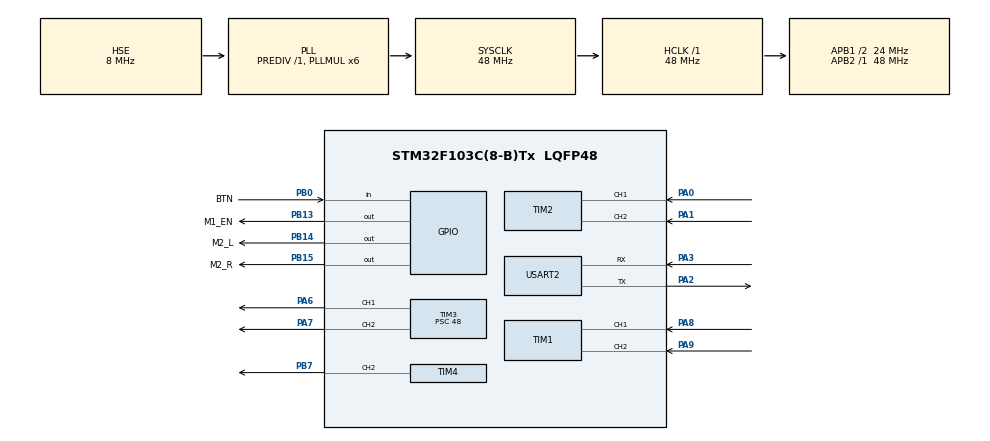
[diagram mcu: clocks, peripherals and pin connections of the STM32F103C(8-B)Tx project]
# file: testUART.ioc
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Mcu.Family=STM32F1
Mcu.Name=STM32F103C(8-B)Tx
Mcu.Package=LQFP48
NVIC.PriorityGroup=NVIC_PRIORITYGROUP_4
NVIC.TIM4_IRQn=true\:2\:0\:true\:false\:true\:true\:true\:true
NVIC.USART2_IRQn=true\:3\:0\:true\:false\:true\:true\:true\:true
PA0-WKUP.Signal=S_TIM2_CH1_ETR
PA1.Signal=S_TIM2_CH2
PA13.Mode=Serial_Wire
PA13.Signal=SYS_JTMS-SWDIO
PA14.Mode=Serial_Wire
PA14.Signal=SYS_JTCK-SWCLK
PA2.Mode=Asynchronous
PA2.Signal=USART2_TX
PA3.Mode=Asynchronous
PA3.Signal=USART2_RX
PA6.Signal=S_TIM3_CH1
PA7.Signal=S_TIM3_CH2
PA8.Signal=S_TIM1_CH1
PA9.Signal=S_TIM1_CH2
PB0.GPIO_Label=BTN
PB0.GPIO_PuPd=GPIO_PULLUP
PB0.Signal=GPIO_Input
PB13.GPIO_Label=M1_EN
PB13.Signal=GPIO_Output
PB14.GPIO_Label=M2_L
PB14.Signal=GPIO_Output
PB15.GPIO_Label=M2_R
PB15.Signal=GPIO_Output
PB7.Signal=S_TIM4_CH2
PD0-OSC_IN.Mode=HSE-External-Oscillator
PD0-OSC_IN.Signal=RCC_OSC_IN
PD1-OSC_OUT.Mode=HSE-External-Oscillator
PD1-OSC_OUT.Signal=RCC_OSC_OUT
ProjectManager.HeapSize=0x200
ProjectManager.StackSize=0x400
ProjectManager.TargetToolchain=STM32CubeIDE
RCC.AHBFreq_Value=48000000
RCC.APB1CLKDivider=RCC_HCLK_DIV2
RCC.APB1Freq_Value=24000000
RCC.APB1TimFreq_Value=48000000
RCC.APB2Freq_Value=48000000
RCC.APB2TimFreq_Value=48000000
RCC.HCLKFreq_Value=48000000
RCC.PLLMUL=RCC_PLL_MUL6
RCC.PLLSourceVirtual=RCC_PLLSOURCE_HSE
RCC.SYSCLKFreq_VALUE=48000000
RCC.SYSCLKSource=RCC_SYSCLKSOURCE_PLLCLK
RCC.USBFreq_Value=48000000
SH.S_TIM1_CH1.0=TIM1_CH1,Encoder_Interface
SH.S_TIM1_CH2.0=TIM1_CH2,Encoder_Interface
SH.S_TIM2_CH1_ETR.0=TIM2_CH1,Encoder_Interface
SH.S_TIM2_CH2.0=TIM2_CH2,Encoder_Interface
SH.S_TIM3_CH1.0=TIM3_CH1,PWM Generation1 CH1
SH.S_TIM3_CH2.0=TIM3_CH2,PWM Generation2 CH2
SH.S_TIM4_CH2.0=TIM4_CH2,PWM Generation2 CH2
TIM1.AutoReloadPreload=TIM_AUTORELOAD_PRELOAD_ENABLE
TIM1.EncoderMode=TIM_ENCODERMODE_TI12
TIM2.AutoReloadPreload=TIM_AUTORELOAD_PRELOAD_ENABLE
TIM3.AutoReloadPreload=TIM_AUTORELOAD_PRELOAD_ENABLE
TIM3.Channel-PWM\ Generation1\ CH1=TIM_CHANNEL_1
TIM3.Channel-PWM\ Generation2\ CH2=TIM_CHANNEL_2
TIM3.Period=499
TIM3.Prescaler=48
TIM4.AutoReloadPreload=TIM_AUTORELOAD_PRELOAD_ENABLE
TIM4.Channel-PWM\ Generation2\ CH2=TIM_CHANNEL_2
TIM4.Period=999
TIM4.Prescaler=48
USART2.VirtualMode=VM_ASYNC
board=custom

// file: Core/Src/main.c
/* USER CODE BEGIN Header */
/**
 ******************************************************************************
 * @file           : main.c (UART)
 * @brief          : Main program body
 ******************************************************************************
 * @attention
 *
 * Copyright (c) 2022 STMicroelectronics.
 * All rights reserved.
 *
 * This software is licensed under terms that can be found in the LICENSE file
 * in the root directory of this software component.
 * If no LICENSE file comes with this software, it is provided AS-IS.
 *
 ******************************************************************************
 */
/* USER CODE END Header */
#include "main.h"

/* USER CODE BEGIN Includes */
#include <stdbool.h>
#include <stdio.h>
#include <stdint.h>
#include <math.h>
#include <string.h>
/* USER CODE END Includes */

/* USER CODE BEGIN PM */
typedef uint8_t u8;
typedef int8_t s8;
typedef uint16_t u16;
typedef int16_t s16;
typedef uint32_t u32;
typedef int32_t s32;
/* USER CODE END PM */

TIM_HandleTypeDef htim1;
TIM_HandleTypeDef htim2;
TIM_HandleTypeDef htim3;
TIM_HandleTypeDef htim4;

UART_HandleTypeDef huart2;

/* USER CODE BEGIN PV */
static char MSG[52] = { '\0' };

/* USER CODE END PV */

void SystemClock_Config(void);
static void MX_GPIO_Init(void);
static void MX_USART2_UART_Init(void);
static void MX_TIM1_Init(void);
static void MX_TIM2_Init(void);
static void MX_TIM3_Init(void);
static void MX_TIM4_Init(void);
/* USER CODE BEGIN PFP */
uint32_t MAP(uint32_t au32_IN, uint32_t au32_INmin, uint32_t au32_INmax,
	uint32_t au32_OUTmin, uint32_t au32_OUTmax) {
  uint32_t val = au32_IN - au32_INmin;
  val = val * (au32_OUTmax - au32_OUTmin);
  val = val / (1.0 * (au32_INmax - au32_INmin));
  val = val + au32_OUTmin;
  return val;
}
void set_motor(u8 id, s8 dir, u16 val) {
  u16 pwm;
  switch (id) {
  case 1:
	pwm = MAP(val, 0, 1000, 0, 499);
	if (dir == 1) {
	  HAL_GPIO_WritePin(M1_EN_GPIO_Port, M1_EN_Pin, GPIO_PIN_SET);
	  TIM3->CCR1 = pwm;
	  TIM3->CCR2 = 0;
	} else if (dir == -1) {
	  HAL_GPIO_WritePin(M1_EN_GPIO_Port, M1_EN_Pin, GPIO_PIN_SET);
	  TIM3->CCR2 = pwm;
	  TIM3->CCR1 = 0;
	} else if (dir == 0) //Freely run
		{
	  HAL_GPIO_WritePin(M1_EN_GPIO_Port, M1_EN_Pin, GPIO_PIN_RESET);
	  TIM3->CCR1 = 0;
	  TIM3->CCR2 = 0;
	} else	// BRAKE
	{
	  HAL_GPIO_WritePin(M1_EN_GPIO_Port, M1_EN_Pin, GPIO_PIN_SET);
	  TIM3->CCR2 = 0;
	  TIM3->CCR1 = 0;
	}
	break;
  case 2:
	pwm = MAP(val, 0, 1000, 0, 999);
	if (dir == -1) {
	  HAL_GPIO_WritePin(M2_L_GPIO_Port, M2_L_Pin, GPIO_PIN_SET);
	  HAL_GPIO_WritePin(M2_R_GPIO_Port, M2_R_Pin, GPIO_PIN_RESET);
	  TIM4->CCR2 = pwm;
	} else if (dir == 1) {
	  HAL_GPIO_WritePin(M2_L_GPIO_Port, M2_L_Pin, GPIO_PIN_RESET);
	  HAL_GPIO_WritePin(M2_R_GPIO_Port, M2_R_Pin, GPIO_PIN_SET);
	  TIM4->CCR2 = pwm;
	} else if (dir == -2) //Freely run
		{
	  TIM4->CCR2 = 0;
	  HAL_GPIO_WritePin(M2_L_GPIO_Port, M2_L_Pin, GPIO_PIN_RESET);
	  HAL_GPIO_WritePin(M2_R_GPIO_Port, M2_R_Pin, GPIO_PIN_RESET);
	} else //BRAKE
	{
	  HAL_GPIO_WritePin(M2_L_GPIO_Port, M2_L_Pin, GPIO_PIN_RESET);
	  HAL_GPIO_WritePin(M2_R_GPIO_Port, M2_R_Pin, GPIO_PIN_RESET);
	  TIM4->CCR2 = 999;
	}
	break;
  default:
	return;
  }
}

volatile u32 tick_count = 0; // 1 ms/tick
volatile u8 deltaT = 20; //ms 50Hz

volatile s32 now_E1 = 0, now_E2 = 0, delta_E1 = 0, delta_E2 = 0;
volatile s32 pre_E1 = 0, pre_E2 = 0;

#define M1_PulsePerRev 1600	// tick/motor rev
#define M1_GearRatio (30.0/16.0)	// motor rev / output rev

#define M2_PulsePerRev 44	// tick/motor rev
#define M2_GearRatio 168		// motor rev / output rev
#define M2_visme_pitch	8	// translation mm/ rev

volatile float M1_velo = 0, M2_velo = 0;
volatile float M1_velo_filt = 0, M2_velo_filt = 0;
volatile float M1_preVelo = 0, M2_preVelo = 0;

volatile float M1_vref = 0, M2_vref = 0;
volatile float t = 0;
bool FLAG_runMotor = false;

volatile u8 M1_dir = 0, M2_dir = 0;
volatile u32 tick_20ms = 0;

volatile bool FLAG_sendData = false;
volatile float M1_travel = 0;
void HAL_TIM_PeriodElapsedCallback(TIM_HandleTypeDef *htim) {
  if (htim->Instance == TIM4) {
	tick_count = tick_count + 1;
	if (tick_count >= deltaT) {
	  //20 ms
	  tick_count = 0;
	  if (FLAG_runMotor) {
		M1_vref = 1000 * sin((2 * 3.14 / 20.0) * t);
		t = t + deltaT / 1000.0;

		now_E1 = TIM1->CNT;
		now_E2 = TIM2->CNT;

		delta_E1 = now_E1 - pre_E1;
		delta_E2 = now_E2 - pre_E2;

		if (delta_E1 < -3000) // now = 5, pre = 65530
		  delta_E1 = delta_E1 + 0xFFFF;
		else if (delta_E1 > 3000) // now = 65535, pre = 5
		  delta_E1 = delta_E1 - 0xFFFF;

		if (delta_E2 < -3000) // now = 5, pre = 65530
		  delta_E2 = delta_E2 + 0xFFFF;
		else if (delta_E2 > 3000) // now = 65535, pre = 5
		  delta_E2 = delta_E2 - 0xFFFF;

		pre_E1 = now_E1;
		pre_E2 = now_E2;

		// (ticks/s*60)/(ticks/mRev*mRev/outRev) = outRev/min
		M1_velo = (delta_E1 * 20 * 60.0)
			/ (1.0 * M1_PulsePerRev * M1_GearRatio);
		M2_velo = (delta_E2 * 20 * 60.0)
			/ (1.0 * M2_PulsePerRev * M2_GearRatio);

		M1_travel = M1_travel
			+ delta_E1 * 1.0 / (1.0 * M1_PulsePerRev * M1_GearRatio);

		// pulse/(pulse/rev*rev/Outrev) = OutRev *pitch = mm
		M1_velo_filt = -0.222 * M1_velo_filt + 0.611 * M1_velo
			+ 0.611 * M1_preVelo;
		M1_preVelo = M1_velo;

		M2_velo_filt = -0.222 * M2_velo_filt + 0.611 * M2_velo
			+ 0.611 * M2_preVelo;
		M2_preVelo = M2_velo;

//		M1_velo_e = M1_vref - M1_velo_filt;
//		M1_velo_eint = M1_velo_eint + M1_velo_e * deltaT / 1000.0;
//		M1_u = M1_Kp * M1_velo_e + M1_Ki * M1_velo_eint
//			+ M1_Kd * (M1_velo_e - M1_velo_preE) * 1000.0 / deltaT;
//		M1_velo_preE = M1_velo_e;

		float M1_pwm = fabsf(M1_vref);
		if (M1_pwm > 1000.0)
		  M1_pwm = 1000.0;
		else if (M1_pwm < 0)
		  M1_pwm = 0;

		if (M1_vref < 0)
		  M1_dir = 1;
		else
		  M1_dir = -1;
		set_motor(1, -1, 1000);
		set_motor(2, M1_dir, M1_pwm);
		FLAG_sendData = true;
	  } else {
		set_motor(1, 0, 0);
		set_motor(2, 0, 0);
	  }
	}
  }
}
//void HAL_UART_TxCpltCallback(UART_HandleTypeDef *huart) {
//  memset(MSG, 0, sizeof(MSG));
//}
/* USER CODE END PFP */

/* USER CODE BEGIN 0 */
u32 BTN_inTime = 0;
bool FLAG_BTN_inTime = false;
/* USER CODE END 0 */

int main(void)
{

  /* MCU Configuration--------------------------------------------------------*/

  /* Reset of all peripherals, Initializes the Flash interface and the Systick. */
  HAL_Init();

  /* Configure the system clock */
  SystemClock_Config();

  /* Initialize all configured peripherals */
  MX_GPIO_Init();
  MX_USART2_UART_Init();
  MX_TIM1_Init();
  MX_TIM2_Init();
  MX_TIM3_Init();
  MX_TIM4_Init();
  /* USER CODE BEGIN 2 */

  HAL_TIM_Encoder_Start(&htim1, TIM_CHANNEL_ALL);
  HAL_TIM_Encoder_Start(&htim2, TIM_CHANNEL_ALL);

  HAL_TIM_PWM_Start(&htim3, TIM_CHANNEL_1);
  HAL_TIM_PWM_Start(&htim3, TIM_CHANNEL_2);
  HAL_TIM_PWM_Start(&htim4, TIM_CHANNEL_2);

  HAL_TIM_Base_Start_IT(&htim4);

  /* USER CODE END 2 */

  /* Infinite loop */
  while (1) {

    /* USER CODE BEGIN 3 */

	if (FLAG_sendData) {
	  FLAG_sendData = false;
	  sprintf(MSG, "%9.3f,%9.3f,%9.3f,%9.3f,%9.3f\n", M1_vref, M1_velo,
		  M1_velo_filt, M2_velo, M2_velo_filt);
	  HAL_UART_Transmit_IT(&huart2, (uint8_t*) MSG, strlen(MSG));
	}

	if (HAL_GPIO_ReadPin(BTN_GPIO_Port, BTN_Pin) == GPIO_PIN_RESET) {
	  if (!FLAG_BTN_inTime)
		BTN_inTime = HAL_GetTick();
	  FLAG_BTN_inTime = true;
	} else if (HAL_GPIO_ReadPin(BTN_GPIO_Port, BTN_Pin) == GPIO_PIN_SET) {
	  if (FLAG_BTN_inTime) {
		FLAG_BTN_inTime = false;
		if (HAL_GetTick() - BTN_inTime > 50) {
		  if (!FLAG_runMotor)
			FLAG_runMotor = true;
		  else {
			FLAG_runMotor = false;
			M1_travel = 0;
			sprintf(MSG, "new\n");
			HAL_UART_Transmit_IT(&huart2, (uint8_t*) MSG, strlen(MSG));
			t = 0;
		  }
		}
	  }
	}
  }
  /* USER CODE END 3 */
}

void SystemClock_Config(void)
{
  RCC_OscInitTypeDef RCC_OscInitStruct = {0};
  RCC_ClkInitTypeDef RCC_ClkInitStruct = {0};

  /** Initializes the RCC Oscillators according to the specified parameters
  * in the RCC_OscInitTypeDef structure.
  */
  RCC_OscInitStruct.OscillatorType = RCC_OSCILLATORTYPE_HSE;
  RCC_OscInitStruct.HSEState = RCC_HSE_ON;
  RCC_OscInitStruct.HSEPredivValue = RCC_HSE_PREDIV_DIV1;
  RCC_OscInitStruct.HSIState = RCC_HSI_ON;
  RCC_OscInitStruct.PLL.PLLState = RCC_PLL_ON;
  RCC_OscInitStruct.PLL.PLLSource = RCC_PLLSOURCE_HSE;
  RCC_OscInitStruct.PLL.PLLMUL = RCC_PLL_MUL6;
  if (HAL_RCC_OscConfig(&RCC_OscInitStruct) != HAL_OK)
  {
    Error_Handler();
  }

  /** Initializes the CPU, AHB and APB buses clocks
  */
  RCC_ClkInitStruct.ClockType = RCC_CLOCKTYPE_HCLK|RCC_CLOCKTYPE_SYSCLK
                              |RCC_CLOCKTYPE_PCLK1|RCC_CLOCKTYPE_PCLK2;
  RCC_ClkInitStruct.SYSCLKSource = RCC_SYSCLKSOURCE_PLLCLK;
  RCC_ClkInitStruct.AHBCLKDivider = RCC_SYSCLK_DIV1;
  RCC_ClkInitStruct.APB1CLKDivider = RCC_HCLK_DIV2;
  RCC_ClkInitStruct.APB2CLKDivider = RCC_HCLK_DIV1;

  if (HAL_RCC_ClockConfig(&RCC_ClkInitStruct, FLASH_LATENCY_1) != HAL_OK)
  {
    Error_Handler();
  }
}

static void MX_TIM1_Init(void)
{

  TIM_Encoder_InitTypeDef sConfig = {0};
  TIM_MasterConfigTypeDef sMasterConfig = {0};

  htim1.Instance = TIM1;
  htim1.Init.Prescaler = 0;
  htim1.Init.CounterMode = TIM_COUNTERMODE_UP;
  htim1.Init.Period = 65535;
  htim1.Init.ClockDivision = TIM_CLOCKDIVISION_DIV1;
  htim1.Init.RepetitionCounter = 0;
  htim1.Init.AutoReloadPreload = TIM_AUTORELOAD_PRELOAD_ENABLE;
  sConfig.EncoderMode = TIM_ENCODERMODE_TI12;
  sConfig.IC1Polarity = TIM_ICPOLARITY_RISING;
  sConfig.IC1Selection = TIM_ICSELECTION_DIRECTTI;
  sConfig.IC1Prescaler = TIM_ICPSC_DIV1;
  sConfig.IC1Filter = 0;
  sConfig.IC2Polarity = TIM_ICPOLARITY_RISING;
  sConfig.IC2Selection = TIM_ICSELECTION_DIRECTTI;
  sConfig.IC2Prescaler = TIM_ICPSC_DIV1;
  sConfig.IC2Filter = 0;
  if (HAL_TIM_Encoder_Init(&htim1, &sConfig) != HAL_OK)
  {
    Error_Handler();
  }
  sMasterConfig.MasterOutputTrigger = TIM_TRGO_RESET;
  sMasterConfig.MasterSlaveMode = TIM_MASTERSLAVEMODE_DISABLE;
  if (HAL_TIMEx_MasterConfigSynchronization(&htim1, &sMasterConfig) != HAL_OK)
  {
    Error_Handler();
  }

}

static void MX_TIM2_Init(void)
{

  TIM_Encoder_InitTypeDef sConfig = {0};
  TIM_MasterConfigTypeDef sMasterConfig = {0};

  htim2.Instance = TIM2;
  htim2.Init.Prescaler = 0;
  htim2.Init.CounterMode = TIM_COUNTERMODE_UP;
  htim2.Init.Period = 65535;
  htim2.Init.ClockDivision = TIM_CLOCKDIVISION_DIV1;
  htim2.Init.AutoReloadPreload = TIM_AUTORELOAD_PRELOAD_ENABLE;
  sConfig.EncoderMode = TIM_ENCODERMODE_TI1;
  sConfig.IC1Polarity = TIM_ICPOLARITY_RISING;
  sConfig.IC1Selection = TIM_ICSELECTION_DIRECTTI;
  sConfig.IC1Prescaler = TIM_ICPSC_DIV1;
  sConfig.IC1Filter = 0;
  sConfig.IC2Polarity = TIM_ICPOLARITY_RISING;
  sConfig.IC2Selection = TIM_ICSELECTION_DIRECTTI;
  sConfig.IC2Prescaler = TIM_ICPSC_DIV1;
  sConfig.IC2Filter = 0;
  if (HAL_TIM_Encoder_Init(&htim2, &sConfig) != HAL_OK)
  {
    Error_Handler();
  }
  sMasterConfig.MasterOutputTrigger = TIM_TRGO_RESET;
  sMasterConfig.MasterSlaveMode = TIM_MASTERSLAVEMODE_DISABLE;
  if (HAL_TIMEx_MasterConfigSynchronization(&htim2, &sMasterConfig) != HAL_OK)
  {
    Error_Handler();
  }

}

static void MX_TIM3_Init(void)
{

  TIM_MasterConfigTypeDef sMasterConfig = {0};
  TIM_OC_InitTypeDef sConfigOC = {0};

  htim3.Instance = TIM3;
  htim3.Init.Prescaler = 48;
  htim3.Init.CounterMode = TIM_COUNTERMODE_UP;
  htim3.Init.Period = 499;
  htim3.Init.ClockDivision = TIM_CLOCKDIVISION_DIV1;
  htim3.Init.AutoReloadPreload = TIM_AUTORELOAD_PRELOAD_ENABLE;
  if (HAL_TIM_PWM_Init(&htim3) != HAL_OK)
  {
    Error_Handler();
  }
  sMasterConfig.MasterOutputTrigger = TIM_TRGO_RESET;
  sMasterConfig.MasterSlaveMode = TIM_MASTERSLAVEMODE_DISABLE;
  if (HAL_TIMEx_MasterConfigSynchronization(&htim3, &sMasterConfig) != HAL_OK)
  {
    Error_Handler();
  }
  sConfigOC.OCMode = TIM_OCMODE_PWM1;
  sConfigOC.Pulse = 0;
  sConfigOC.OCPolarity = TIM_OCPOLARITY_HIGH;
  sConfigOC.OCFastMode = TIM_OCFAST_DISABLE;
  if (HAL_TIM_PWM_ConfigChannel(&htim3, &sConfigOC, TIM_CHANNEL_1) != HAL_OK)
  {
    Error_Handler();
  }
  if (HAL_TIM_PWM_ConfigChannel(&htim3, &sConfigOC, TIM_CHANNEL_2) != HAL_OK)
  {
    Error_Handler();
  }
  HAL_TIM_MspPostInit(&htim3);

}

static void MX_TIM4_Init(void)
{

  TIM_MasterConfigTypeDef sMasterConfig = {0};
  TIM_OC_InitTypeDef sConfigOC = {0};

  htim4.Instance = TIM4;
  htim4.Init.Prescaler = 48;
  htim4.Init.CounterMode = TIM_COUNTERMODE_UP;
  htim4.Init.Period = 999;
  htim4.Init.ClockDivision = TIM_CLOCKDIVISION_DIV1;
  htim4.Init.AutoReloadPreload = TIM_AUTORELOAD_PRELOAD_ENABLE;
  if (HAL_TIM_PWM_Init(&htim4) != HAL_OK)
  {
    Error_Handler();
  }
  sMasterConfig.MasterOutputTrigger = TIM_TRGO_RESET;
  sMasterConfig.MasterSlaveMode = TIM_MASTERSLAVEMODE_DISABLE;
  if (HAL_TIMEx_MasterConfigSynchronization(&htim4, &sMasterConfig) != HAL_OK)
  {
    Error_Handler();
  }
  sConfigOC.OCMode = TIM_OCMODE_PWM1;
  sConfigOC.Pulse = 0;
  sConfigOC.OCPolarity = TIM_OCPOLARITY_HIGH;
  sConfigOC.OCFastMode = TIM_OCFAST_DISABLE;
  if (HAL_TIM_PWM_ConfigChannel(&htim4, &sConfigOC, TIM_CHANNEL_2) != HAL_OK)
  {
    Error_Handler();
  }
  HAL_TIM_MspPostInit(&htim4);

}

static void MX_USART2_UART_Init(void)
{

  huart2.Instance = USART2;
  huart2.Init.BaudRate = 115200;
  huart2.Init.WordLength = UART_WORDLENGTH_8B;
  huart2.Init.StopBits = UART_STOPBITS_1;
  huart2.Init.Parity = UART_PARITY_NONE;
  huart2.Init.Mode = UART_MODE_TX_RX;
  huart2.Init.HwFlowCtl = UART_HWCONTROL_NONE;
  huart2.Init.OverSampling = UART_OVERSAMPLING_16;
  if (HAL_UART_Init(&huart2) != HAL_OK)
  {
    Error_Handler();
  }

}

static void MX_GPIO_Init(void)
{
  GPIO_InitTypeDef GPIO_InitStruct = {0};

  /* GPIO Ports Clock Enable */
  __HAL_RCC_GPIOD_CLK_ENABLE();
  __HAL_RCC_GPIOA_CLK_ENABLE();
  __HAL_RCC_GPIOB_CLK_ENABLE();

  /*Configure GPIO pin Output Level */
  HAL_GPIO_WritePin(GPIOB, M1_EN_Pin|M2_L_Pin|M2_R_Pin, GPIO_PIN_RESET);

  /*Configure GPIO pin : BTN_Pin */
  GPIO_InitStruct.Pin = BTN_Pin;
  GPIO_InitStruct.Mode = GPIO_MODE_INPUT;
  GPIO_InitStruct.Pull = GPIO_PULLUP;
  HAL_GPIO_Init(BTN_GPIO_Port, &GPIO_InitStruct);

  /*Configure GPIO pins : M1_EN_Pin M2_L_Pin M2_R_Pin */
  GPIO_InitStruct.Pin = M1_EN_Pin|M2_L_Pin|M2_R_Pin;
  GPIO_InitStruct.Mode = GPIO_MODE_OUTPUT_PP;
  GPIO_InitStruct.Pull = GPIO_NOPULL;
  GPIO_InitStruct.Speed = GPIO_SPEED_FREQ_LOW;
  HAL_GPIO_Init(GPIOB, &GPIO_InitStruct);

}

void Error_Handler(void)
{
  __disable_irq();
  while (1) {
  }
}
